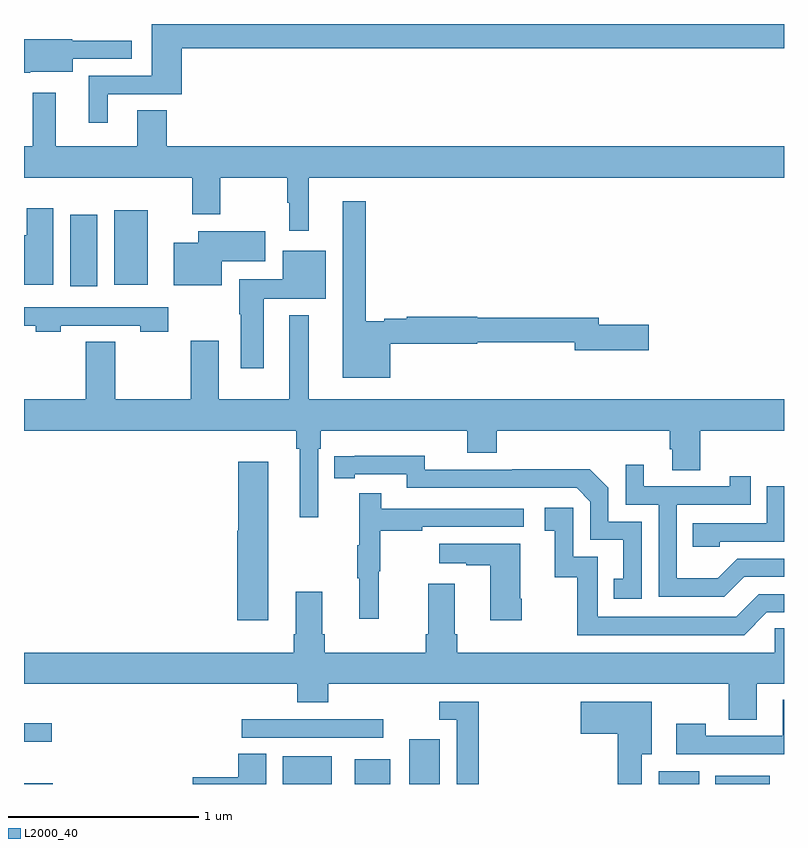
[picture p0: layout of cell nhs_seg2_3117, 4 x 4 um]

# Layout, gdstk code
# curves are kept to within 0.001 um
import gdstk
lib = gdstk.Library(unit=1e-6, precision=1e-09)
def R(c, l, rs):  # rectangles x0, y0, x1, y1
    for r in rs: c.add(gdstk.rectangle(r[:2], r[2:], *l))
def P(c, l, *ps):  # polygons
    for p in ps: c.add(gdstk.Polygon(p, *l))
L2000_40 = (2000, 40)

nhs_seg2_3117 = lib.new_cell('nhs_seg2_3117')
R(nhs_seg2_3117, L2000_40, [(275,621.8,275.152,621.805), (276.362,621.8,276.619,621.946), (276.74,621.8,276.928,621.931), (277.028,621.8,277.189,622.036), (278.342,621.8,278.554,621.868), (278.639,621.8,278.926,621.844), (275,622.022,275.146,622.119), (276.147,622.044,276.892,622.14), (275.243,624.42,275.386,624.796), (275.474,624.428,275.65,624.82)])
P(nhs_seg2_3117, L2000_40, [(275.44,625.431),(275.831,625.431),(275.831,625.672),(279,625.672),(279,625.8),(275.672,625.8),(275.672,625.527),(275.342,625.527),(275.342,625.281),(275.44,625.281)],
  [(275.034,625.55),(275.257,625.55),(275.257,625.617),(275.566,625.617),(275.566,625.713),(275.253,625.713),(275.253,625.721),(275,625.721),(275,625.543),(275.034,625.543)],
  [(276.499,624.992),(279,624.992),(279,625.156),(275.75,625.156),(275.75,625.346),(275.597,625.346),(275.597,625.156),(275.167,625.156),(275.167,625.438),(275.046,625.438),(275.046,625.156),(275,625.156),(275,624.992),(275.885,624.992),(275.885,624.798),(276.033,624.798),(276.033,624.992),(276.385,624.992),(276.385,624.86),(276.395,624.86),(276.395,624.711),(276.499,624.711)],
  [(276.928,624.118),(277.386,624.118),(277.386,624.126),(277.898,624.126),(277.898,624.083),(278.287,624.083),(278.287,624.218),(278.026,624.218),(278.026,624.254),(277.386,624.254),(277.386,624.26),(277.014,624.26),(277.014,624.248),(276.896,624.248),(276.896,624.235),(276.799,624.235),(276.799,624.868),(276.677,624.868),(276.677,623.939),(276.928,623.939)],
  [(275.155,624.829),(275.015,624.829),(275.015,624.687),(275,624.687),(275,624.428),(275.155,624.428)],
  [(276.04,624.551),(276.271,624.551),(276.271,624.709),(275.918,624.709),(275.918,624.649),(275.789,624.649),(275.789,624.425),(276.04,624.425)],
  [(276.262,624.353),(276.589,624.353),(276.589,624.607),(276.362,624.607),(276.362,624.456),(276.133,624.456),(276.133,624.272),(276.14,624.272),(276.14,623.988),(276.262,623.988)],
  [(275.193,624.213),(275.613,624.213),(275.613,624.181),(275.758,624.181),(275.758,624.309),(275,624.309),(275,624.213),(275.061,624.213),(275.061,624.181),(275.193,624.181)],
  [(276.549,623.564),(276.563,623.564),(276.563,623.66),(277.334,623.66),(277.334,623.543),(277.487,623.543),(277.487,623.66),(278.399,623.66),(278.399,623.562),(278.411,623.562),(278.411,623.452),(278.559,623.452),(278.559,623.66),(279,623.66),(279,623.824),(276.499,623.824),(276.499,624.268),(276.397,624.268),(276.397,624.161),(276.395,624.161),(276.395,623.824),(276.025,623.824),(276.025,624.133),(275.878,624.133),(275.878,623.824),(275.48,623.824),(275.48,624.128),(275.326,624.128),(275.326,623.824),(275,623.824),(275,623.66),(276.433,623.66),(276.433,623.564),(276.452,623.564),(276.452,623.205),(276.549,623.205)],
  [(278.25,623.181),(278.076,623.181),(278.076,623.358),(277.978,623.456),(277.57,623.456),(277.57,623.454),(277.11,623.454),(277.11,623.527),(276.634,623.526),(276.634,623.41),(276.742,623.41),(276.742,623.43),(277.014,623.43),(277.014,623.358),(277.908,623.358),(277.98,623.286),(277.98,623.085),(278.153,623.085),(278.153,622.881),(278.104,622.881),(278.104,622.776),(278.25,622.776)],
  [(276.286,623.497),(276.128,623.497),(276.128,623.133),(276.122,623.133),(276.122,622.662),(276.286,622.662)],
  [(278.791,622.89),(279,622.89),(279,622.986),(278.754,622.986),(278.65,622.882),(278.436,622.882),(278.436,623.271),(278.825,623.271),(278.825,623.419),(278.714,623.419),(278.714,623.367),(278.263,623.367),(278.263,623.479),(278.166,623.479),(278.166,623.271),(278.34,623.271),(278.34,622.785),(278.686,622.785)],
  [(278.661,623.076),(279,623.076),(279,623.367),(278.91,623.367),(278.91,623.172),(278.521,623.172),(278.521,623.049),(278.661,623.049)],
  [(276.866,622.92),(276.874,622.92),(276.874,623.134),(277.097,623.134),(277.097,623.154),(277.63,623.154),(277.63,623.25),(276.881,623.25),(276.881,623.329),(276.764,623.329),(276.764,623.057),(276.753,623.057),(276.753,622.883),(276.764,622.883),(276.764,622.671),(276.866,622.671)],
  [(278.91,622.704),(279,622.704),(279,622.8),(278.868,622.8),(278.748,622.68),(278.019,622.68),(278.019,622.995),(277.89,622.995),(277.89,623.254),(277.74,623.254),(277.74,623.133),(277.793,623.133),(277.793,622.887),(277.911,622.887),(277.911,622.584),(278.79,622.584)],
  [(277.62,622.774),(277.612,622.774),(277.612,623.065),(277.185,623.065),(277.185,622.961),(277.328,622.961),(277.328,622.951),(277.454,622.951),(277.454,622.662),(277.62,622.662)],
  [(278.857,622.328),(279,622.328),(279,622.619),(278.952,622.619),(278.952,622.492),(277.28,622.492),(277.28,622.588),(277.267,622.588),(277.267,622.855),(277.127,622.855),(277.127,622.588),(277.115,622.588),(277.115,622.492),(276.584,622.492),(276.584,622.588),(276.571,622.588),(276.571,622.813),(276.431,622.813),(276.431,622.588),(276.419,622.588),(276.419,622.492),(275,622.492),(275,622.328),(276.437,622.328),(276.437,622.229),(276.602,622.229),(276.602,622.328),(278.71,622.328),(278.71,622.138),(278.857,622.138)],
  [(279,622.243),(278.993,622.243),(278.993,622.053),(278.589,622.053),(278.589,622.117),(278.433,622.117),(278.433,621.957),(279,621.957)],
  [(278.251,621.956),(278.305,621.956),(278.305,622.234),(277.929,622.234),(277.929,622.064),(278.126,622.064),(278.126,621.8),(278.251,621.8)],
  [(277.394,622.233),(277.185,622.233),(277.185,622.137),(277.278,622.137),(277.278,621.8),(277.394,621.8)],
  [(276.274,621.959),(276.128,621.959),(276.128,621.836),(275.889,621.836),(275.889,621.8),(276.274,621.8)])

lib.write_gds('nhs_seg2_3117.gds')
